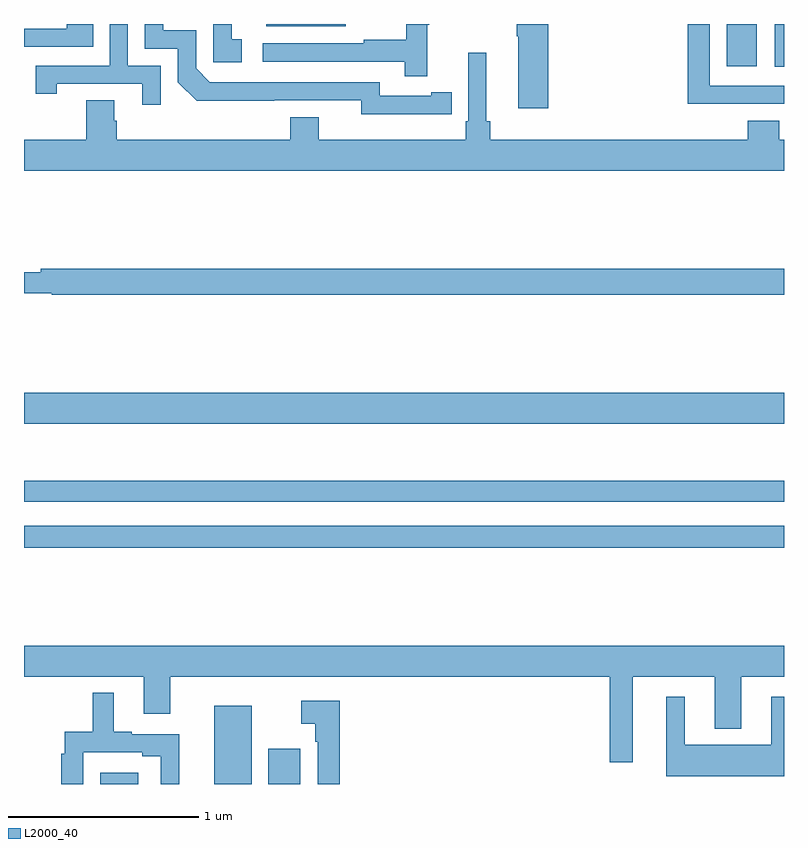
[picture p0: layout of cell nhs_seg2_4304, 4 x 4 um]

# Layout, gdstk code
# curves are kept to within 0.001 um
import gdstk
lib = gdstk.Library(unit=1e-6, precision=1e-09)
def R(c, l, rs):  # rectangles x0, y0, x1, y1
    for r in rs: c.add(gdstk.rectangle(r[:2], r[2:], *l))
def P(c, l, *ps):  # polygons
    for p in ps: c.add(gdstk.Polygon(p, *l))
L2000_40 = (2000, 40)

nhs_seg2_4304 = lib.new_cell('nhs_seg2_4304')
R(nhs_seg2_4304, L2000_40, [(345.401,585.8,345.601,585.859), (346.001,585.8,346.198,586.213), (346.286,585.8,346.453,585.985), (345,587.044,349,587.16), (345,587.286,349,587.395), (345,587.696,349,587.86), (348.95,589.575,349,589.8), (348.698,589.578,348.856,589.8), (346.274,589.787,346.693,589.8)])
P(nhs_seg2_4304, L2000_40, [(345.72,589.581),(345.546,589.581),(345.546,589.8),(345.45,589.8),(345.45,589.581),(345.061,589.581),(345.061,589.434),(345.172,589.434),(345.172,589.485),(345.623,589.485),(345.623,589.374),(345.72,589.374)],
  [(347.123,589.795),(347.134,589.795),(347.134,589.8),(347.013,589.8),(347.013,589.718),(346.789,589.718),(346.789,589.698),(346.257,589.698),(346.257,589.602),(347.005,589.602),(347.005,589.524),(347.123,589.524)],
  [(347.144,589.326),(347.252,589.326),(347.252,589.442),(347.144,589.442),(347.144,589.422),(346.872,589.422),(346.872,589.494),(345.978,589.494),(345.906,589.566),(345.906,589.767),(345.733,589.767),(345.733,589.8),(345.636,589.8),(345.636,589.671),(345.81,589.671),(345.81,589.494),(345.908,589.397),(346.776,589.398),(346.776,589.325)],
  [(345.365,589.8),(345.225,589.8),(345.225,589.776),(345,589.776),(345,589.68),(345.365,589.68)],
  [(347.759,589.8),(347.593,589.8),(347.593,589.735),(347.6,589.735),(347.6,589.356),(347.759,589.356)],
  [(348.725,589.38),(349,589.38),(349,589.476),(348.609,589.476),(348.609,589.8),(348.493,589.8),(348.493,589.379),(348.725,589.379)],
  [(346.147,589.719),(346.094,589.719),(346.094,589.8),(345.996,589.8),(345.996,589.599),(346.147,589.599)],
  [(349,589.192),(348.974,589.192),(348.974,589.291),(348.809,589.291),(348.809,589.192),(347.453,589.192),(347.453,589.288),(347.434,589.288),(347.434,589.648),(347.337,589.648),(347.337,589.288),(347.324,589.288),(347.324,589.192),(346.552,589.192),(346.552,589.309),(346.4,589.309),(346.4,589.192),(345.488,589.192),(345.488,589.29),(345.475,589.29),(345.475,589.4),(345.328,589.4),(345.328,589.192),(345,589.192),(345,589.028),(349,589.028)],
  [(349,588.512),(345.088,588.512),(345.088,588.493),(345,588.493),(345,588.384),(345.145,588.384),(345.145,588.376),(349,588.376)],
  [(345,586.364),(345.629,586.364),(345.629,586.17),(345.769,586.17),(345.769,586.364),(348.084,586.364),(348.084,585.915),(348.205,585.915),(348.205,586.364),(348.635,586.364),(348.635,586.091),(348.775,586.091),(348.775,586.364),(349,586.364),(349,586.528),(345,586.528)],
  [(345.312,585.966),(345.623,585.966),(345.623,585.946),(345.72,585.946),(345.72,585.8),(345.818,585.8),(345.818,586.062),(345.568,586.062),(345.568,586.075),(345.472,586.075),(345.472,586.279),(345.363,586.279),(345.363,586.075),(345.214,586.075),(345.214,585.959),(345.196,585.959),(345.196,585.8),(345.312,585.8)],
  [(349,586.258),(348.932,586.258),(348.932,586.006),(348.478,586.006),(348.478,586.258),(348.38,586.258),(348.38,585.842),(349,585.842)],
  [(346.661,586.237),(346.458,586.237),(346.458,586.118),(346.533,586.118),(346.533,586.022),(346.545,586.022),(346.545,585.8),(346.661,585.8)])

lib.write_gds('nhs_seg2_4304.gds')
